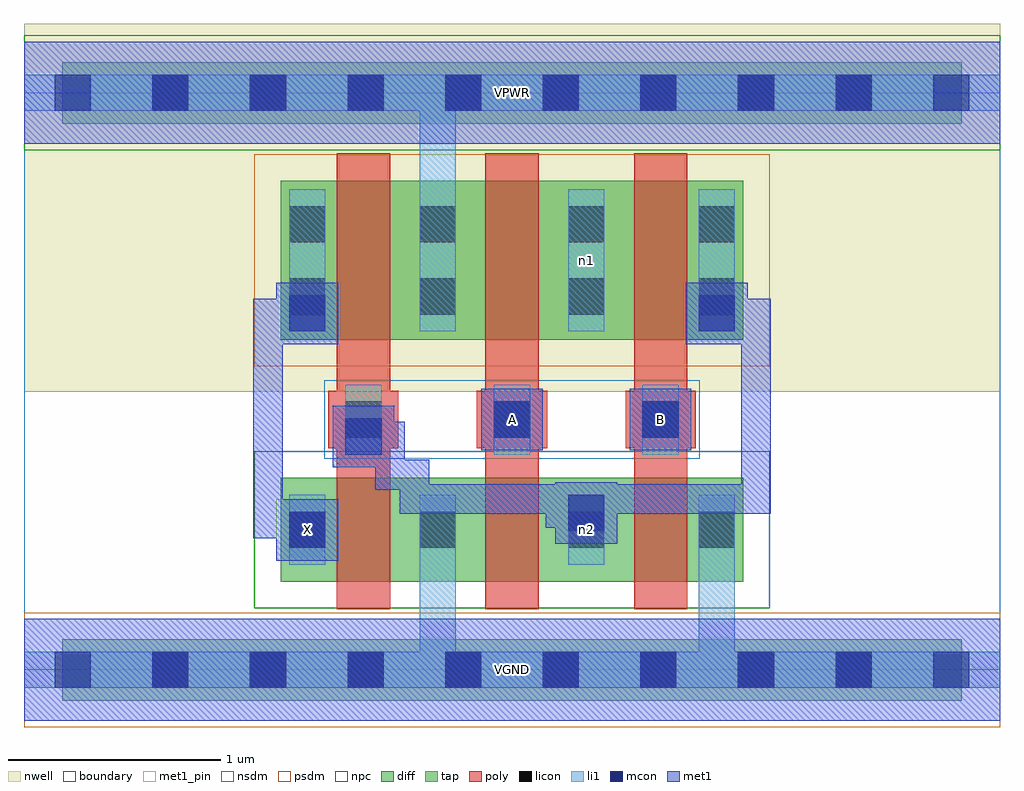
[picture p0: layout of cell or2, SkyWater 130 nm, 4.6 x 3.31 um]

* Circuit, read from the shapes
.subckt or2 A B VGND VPWR X n1 n2
XM1 VGND n2 X VGND sky130_fd_pr__nfet_01v8 w=0.49 l=0.25
XM2 n2 A VGND VGND sky130_fd_pr__nfet_01v8 w=0.49 l=0.25
XM3 VGND B n2 VGND sky130_fd_pr__nfet_01v8 w=0.49 l=0.25
XM4 VPWR n2 X VPWR sky130_fd_pr__pfet_01v8 w=0.75 l=0.25
XM5 n1 A VPWR VPWR sky130_fd_pr__pfet_01v8 w=0.75 l=0.25
XM6 n2 B n1 VPWR sky130_fd_pr__pfet_01v8 w=0.75 l=0.25
.ends

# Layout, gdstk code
import gdstk
lib = gdstk.Library(unit=1e-6, precision=1e-09)
def R(c, l, rs):  # rectangles x0, y0, x1, y1
    for r in rs: c.add(gdstk.rectangle(r[:2], r[2:], *l))
def A(c, l, x, y, w, h, nx, ny, dx, dy):  # array of equal rectangles
    R(c, l, [(x+i*dx, y+j*dy, x+i*dx+w, y+j*dy+h) for i in range(nx) for j in range(ny)])
nwell = (64, 20)
diff = (65, 20)
tap = (65, 44)
poly = (66, 20)
licon = (66, 44)
li1 = (67, 20)
mcon = (67, 44)
met1_pin = (68, 16)
met1 = (68, 20)
nsdm = (93, 44)
psdm = (94, 20)
npc = (95, 20)
boundary = (235, 4)

or2 = lib.new_cell('or2')
R(or2, nwell, [(0,1.31,4.6,3.045)])
R(or2, diff, [(1.21,0.415,3.39,0.905), (1.21,1.555,3.39,2.305)])
R(or2, tap, [(0.18,-0.145,4.42,0.145), (0.18,2.575,4.42,2.865)])
A(or2, poly, 1.475, 0.285, 0.25, 2.15, 3, 1, 0.7, 0)
A(or2, poly, 1.435, 1.045, 0.33, 0.27, 3, 1, 0.7, 0)
A(or2, licon, 0.605, -0.085, 0.17, 0.17, 8, 2, 0.46, 2.72)
A(or2, licon, 1.515, 1.095, 0.17, 0.17, 3, 1, 0.7, 0)
R(or2, licon, [(1.25,0.575,1.42,0.745), (1.865,0.575,2.035,0.745), (2.565,0.575,2.735,0.745), (3.18,0.575,3.35,0.745), (1.25,1.675,1.42,1.845), (1.865,1.675,2.035,1.845), (2.565,1.675,2.735,1.845), (3.18,1.675,3.35,1.845), (1.25,2.015,1.42,2.185), (1.865,2.015,2.035,2.185), (2.565,2.015,2.735,2.185), (3.18,2.015,3.35,2.185)])
A(or2, li1, 1.515, 1.015, 0.17, 0.33, 3, 1, 0.7, 0)
R(or2, li1, [(0,-0.085,4.6,0.085), (1.865,-0.085,2.035,0.825), (3.18,-0.085,3.35,0.825), (1.25,0.495,1.42,0.825), (1.865,0.495,2.035,0.825), (2.565,0.495,2.735,0.825), (3.18,0.495,3.35,0.825), (1.25,1.595,1.42,2.265), (1.865,1.595,2.035,2.265), (1.865,1.595,2.035,2.805), (2.565,1.595,2.735,2.265), (3.18,1.595,3.35,2.265), (0,2.635,4.6,2.805)])
A(or2, mcon, 0.145, -0.085, 0.17, 0.17, 10, 2, 0.46, 2.72)
R(or2, mcon, [(1.25,0.575,1.42,0.745), (2.565,0.655,2.735,0.825), (1.515,1.015,1.685,1.185), (2.215,1.095,2.385,1.265), (2.915,1.095,3.085,1.265), (1.25,1.595,1.42,1.765), (3.18,1.595,3.35,1.765)])
R(or2, met1_pin, [(0,-0.24,4.6,0.24), (1.19,0.515,1.48,0.805), (2.155,1.035,2.445,1.325), (2.855,1.035,3.145,1.325), (0,2.48,4.6,2.96)])
R(or2, met1, [(0,-0.24,4.6,0.24), (1.19,0.515,1.48,0.805), (2.505,0.595,2.795,0.885), (1.08,0.62,1.335,0.76), (1.08,0.62,1.22,1.565), (1.195,0.62,1.335,0.76), (2.46,0.67,2.72,0.81), (2.46,0.67,2.6,0.875), (1.77,0.735,1.91,0.99), (1.77,0.735,2.6,0.875), (2.46,0.735,3.52,0.875), (3.38,0.735,3.52,1.565), (1.655,0.85,1.91,0.99), (1.655,0.85,1.795,1.17), (1.455,0.955,1.745,1.245), (1.53,1.03,1.795,1.17), (2.155,1.035,2.445,1.325), (2.855,1.035,3.145,1.325), (1.08,1.425,1.22,1.75), (3.38,1.425,3.52,1.75), (1.19,1.535,1.48,1.825), (3.12,1.535,3.41,1.825), (1.08,1.61,1.405,1.75), (3.195,1.61,3.52,1.75), (0,2.48,4.6,2.96)])
R(or2, nsdm, [(1.085,0.29,3.515,1.03), (0,2.45,4.6,2.99)])
R(or2, psdm, [(0,-0.27,4.6,0.27), (1.085,1.43,3.515,2.43)])
R(or2, npc, [(1.415,0.995,3.185,1.365)])
R(or2, boundary, [(0,0,4.6,2.72)])
or2.add(gdstk.Label('n2', (2.65,0.66), layer=67, texttype=5))
or2.add(gdstk.Label('n1', (2.65,1.93), layer=67, texttype=5))
or2.add(gdstk.Label('A', (2.3,1.18), layer=68, texttype=5))
or2.add(gdstk.Label('B', (3,1.18), layer=68, texttype=5))
or2.add(gdstk.Label('X', (1.335,0.66), layer=68, texttype=5))
or2.add(gdstk.Label('VPWR', (2.3,2.72), layer=68, texttype=5))
or2.add(gdstk.Label('VGND', (2.3,0), layer=68, texttype=5))
or2.add(gdstk.Label('A', (2.3,1.18), layer=68, texttype=16))
or2.add(gdstk.Label('B', (3,1.18), layer=68, texttype=16))
or2.add(gdstk.Label('X', (1.335,0.66), layer=68, texttype=16))
or2.add(gdstk.Label('VPWR', (2.3,2.72), layer=68, texttype=16))
or2.add(gdstk.Label('VGND', (2.3,0), layer=68, texttype=16))

lib.write_gds('or2.gds')
